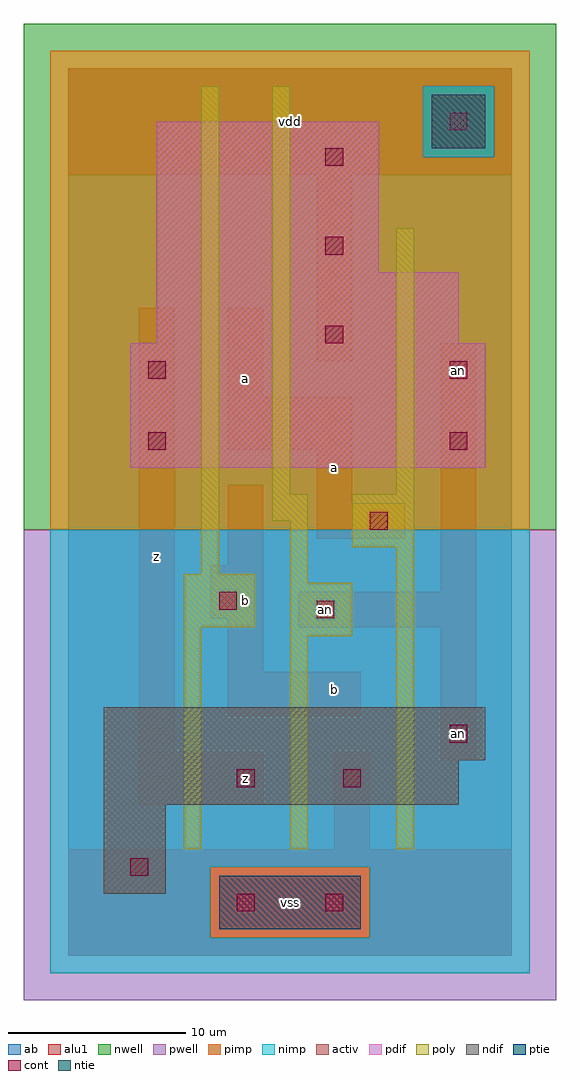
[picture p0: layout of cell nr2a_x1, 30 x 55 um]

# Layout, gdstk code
import gdstk
lib = gdstk.Library(unit=1e-6, precision=1e-09)
def R(c, l, rs):  # rectangles x0, y0, x1, y1
    for r in rs: c.add(gdstk.rectangle(r[:2], r[2:], *l))
def A(c, l, x, y, w, h, nx, ny, dx, dy):  # array of equal rectangles
    R(c, l, [(x+i*dx, y+j*dy, x+i*dx+w, y+j*dy+h) for i in range(nx) for j in range(ny)])
ndif = (3, 0)
pdif = (4, 0)
ntie = (5, 0)
ptie = (6, 0)
cont = (25, 0)
pwell = (41, 0)
nwell = (42, 0)
activ = (43, 0)
pimp = (44, 0)
nimp = (45, 0)
poly = (46, 0)
alu1 = (49, 0)
ab = (63, 0)

nr2a_x1 = lib.new_cell('nr2a_x1')
R(nr2a_x1, ndif, [(2,3.5,5.5,8.5), (2,8.5,22,11), (2,11,23.5,14)])
R(nr2a_x1, pdif, [(3.5,27.5,23.5,34.5), (5,34.5,22,38.5), (5,38.5,17.5,47)])
R(nr2a_x1, ntie, [(20.5,45.5,23.5,48.5)])
R(nr2a_x1, ptie, [(8.5,1.5,16.5,4.5)])
A(nr2a_x1, cont, 14.5, 34.5, 1, 1, 1, 3, 0, 5)
R(nr2a_x1, cont, [(9.5,2.5,10.5,3.5), (14.5,2.5,15.5,3.5), (3.5,4.5,4.5,5.5), (9.5,9.5,10.5,10.5), (15.5,9.5,16.5,10.5), (21.5,12,22.5,13), (14,19,15,20), (8.5,19.5,9.5,20.5), (17,24,18,25), (4.5,28.5,5.5,29.5), (21.5,28.5,22.5,29.5), (4.5,32.5,5.5,33.5), (21.5,32.5,22.5,33.5), (21.5,46.5,22.5,47.5)])
R(nr2a_x1, pwell, [(-2.5,-2.5,27.5,24)])
R(nr2a_x1, nwell, [(-2.5,24,27.5,52.5)])
R(nr2a_x1, activ, [(8.5,1.5,16.5,4.5), (2,3.5,5.5,8.5), (2,8.5,22,11), (2,11,23.5,14), (3.5,27.5,23.5,34.5), (5,34.5,22,38.5), (5,38.5,17.5,47), (20.5,45.5,23.5,48.5)])
R(nr2a_x1, pimp, [(8,1,17,5), (-1,24,26,45), (-1,45,20,49), (24,45,26,49), (-1,49,26,51)])
R(nr2a_x1, nimp, [(-1,-1,26,1), (-1,1,8,5), (17,1,26,5), (-1,5,26,24), (20,45,24,49)])
R(nr2a_x1, poly, [(6.5,6,7.5,18.5), (12.5,6,13.5,18), (18.5,6,19.5,23), (12.5,18,16,21), (6.5,18.5,10.5,21.5), (12.5,21,13.5,24.5), (7.5,21.5,8.5,49), (16,23,19.5,26), (11.5,24.5,13.5,26), (11.5,26,12.5,49), (18.5,26,19.5,41)])
R(nr2a_x1, alu1, [(0,0,25,6), (0,0,25,6), (15,6,17,11.5), (15,6,17,11.5), (4,8.5,11,11.5), (4,8.5,11,11.5), (21,11,23,18.5), (21,11,23,18.5), (4,11.5,6,36.5), (4,11.5,6,36.5), (9,13.5,16.5,16), (9,13.5,16.5,16), (9,16,11,19), (9,16,11,19), (13,18.5,23,20.5), (13,18.5,23,20.5), (8,19,11,22), (8,19,11,22), (21,20.5,23,34.5), (21,20.5,23,34.5), (9,22,11,26.5), (9,22,11,26.5), (14,23.5,19,25.5), (14,23.5,19,25.5), (14,25.5,16,28.5), (14,25.5,16,28.5), (9,28.5,16,31.5), (9,28.5,16,31.5), (9,31.5,11,36.5), (9,31.5,11,36.5), (14,33.5,16,44), (14,33.5,16,44), (0,44,25,50), (0,44,25,50)])
R(nr2a_x1, ab, [(0,0,25,50)])
nr2a_x1.add(gdstk.Label('an', (14.5,19.5), layer=49, texttype=0))
nr2a_x1.add(gdstk.Label('an', (22,12.5), layer=49, texttype=0))
nr2a_x1.add(gdstk.Label('an', (22,33), layer=49, texttype=0))
nr2a_x1.add(gdstk.Label('z', (10,10), layer=49, texttype=0))
nr2a_x1.add(gdstk.Label('z', (5,22.5), layer=49, texttype=0))
nr2a_x1.add(gdstk.Label('b', (10,20), layer=49, texttype=0))
nr2a_x1.add(gdstk.Label('a', (10,32.5), layer=49, texttype=0))
nr2a_x1.add(gdstk.Label('vss', (12.5,3), layer=49, texttype=0))
nr2a_x1.add(gdstk.Label('b', (15,15), layer=49, texttype=0))
nr2a_x1.add(gdstk.Label('a', (15,27.5), layer=49, texttype=0))
nr2a_x1.add(gdstk.Label('vdd', (12.5,47), layer=49, texttype=0))

lib.write_gds('nr2a_x1.gds')
